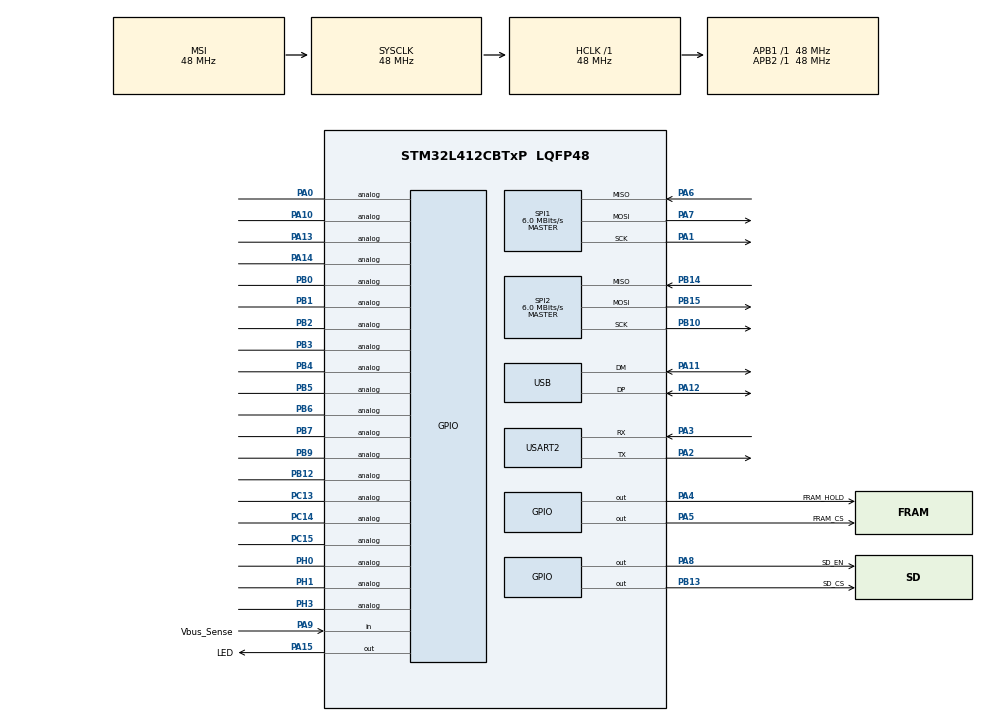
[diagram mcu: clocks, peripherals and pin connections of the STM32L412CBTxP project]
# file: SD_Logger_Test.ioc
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Mcu.Family=STM32L4
Mcu.Name=STM32L412CBTxP
Mcu.Package=LQFP48
NVIC.PriorityGroup=NVIC_PRIORITYGROUP_4
NVIC.USART2_IRQn=true\:0\:0\:false\:false\:true\:true\:true\:true
NVIC.USB_IRQn=true\:0\:0\:false\:false\:true\:false\:true\:true
PA0.Signal=GPIO_Analog
PA1.Mode=Full_Duplex_Master
PA1.Signal=SPI1_SCK
PA10.Signal=GPIO_Analog
PA11.Mode=Device
PA11.Signal=USB_DM
PA12.Mode=Device
PA12.Signal=USB_DP
PA13\ (JTMS/SWDIO).Signal=GPIO_Analog
PA14\ (JTCK/SWCLK).Signal=GPIO_Analog
PA15\ (JTDI).GPIO_Label=LED
PA15\ (JTDI).Signal=GPIO_Output
PA2.Mode=Asynchronous
PA2.Signal=USART2_TX
PA3.Mode=Asynchronous
PA3.Signal=USART2_RX
PA4.GPIO_Label=FRAM_HOLD
PA4.PinState=GPIO_PIN_SET
PA4.Signal=GPIO_Output
PA5.GPIO_Label=FRAM_CS
PA5.GPIO_Speed=GPIO_SPEED_FREQ_HIGH
PA5.PinState=GPIO_PIN_SET
PA5.Signal=GPIO_Output
PA6.Mode=Full_Duplex_Master
PA6.Signal=SPI1_MISO
PA7.Mode=Full_Duplex_Master
PA7.Signal=SPI1_MOSI
PA8.GPIO_Label=SD_EN
PA8.PinState=GPIO_PIN_SET
PA8.Signal=GPIO_Output
PA9.GPIO_Label=Vbus_Sense
PA9.Signal=GPIO_Input
PB0.Signal=GPIO_Analog
PB1.Signal=GPIO_Analog
PB10.Mode=Full_Duplex_Master
PB10.Signal=SPI2_SCK
PB12.Signal=GPIO_Analog
PB13.GPIO_Label=SD_CS
PB13.GPIO_Speed=GPIO_SPEED_FREQ_HIGH
PB13.PinState=GPIO_PIN_SET
PB13.Signal=GPIO_Output
PB14.GPIO_PuPd=GPIO_NOPULL
PB14.Mode=Full_Duplex_Master
PB14.Signal=SPI2_MISO
PB15.GPIO_PuPd=GPIO_NOPULL
PB15.Mode=Full_Duplex_Master
PB15.Signal=SPI2_MOSI
PB2.Signal=GPIO_Analog
PB3\ (JTDO/TRACESWO).Signal=GPIO_Analog
PB4\ (NJTRST).Signal=GPIO_Analog
PB5.Signal=GPIO_Analog
PB6.Signal=GPIO_Analog
PB7.Signal=GPIO_Analog
PB9.Signal=GPIO_Analog
PC13.Signal=GPIO_Analog
PC14-OSC32_IN\ (PC14).Signal=GPIO_Analog
PC15-OSC32_OUT\ (PC15).Signal=GPIO_Analog
PH0-OSC_IN\ (PH0).Signal=GPIO_Analog
PH1-OSC_OUT\ (PH1).Signal=GPIO_Analog
PH3-BOOT0\ (BOOT0).Signal=GPIO_Analog
ProjectManager.HeapSize=0x200
ProjectManager.StackSize=0x400
ProjectManager.TargetToolchain=Makefile
RCC.ADCFreq_Value=48000000
RCC.AHBFreq_Value=48000000
RCC.APB1Freq_Value=48000000
RCC.APB1TimFreq_Value=48000000
RCC.APB2Freq_Value=48000000
RCC.APB2TimFreq_Value=48000000
RCC.CortexFreq_Value=48000000
RCC.HCLKFreq_Value=48000000
RCC.HSE_VALUE=8000000
RCC.HSI48_VALUE=48000000
RCC.HSI_VALUE=16000000
RCC.LSE_VALUE=32768
RCC.MSIClockRange=RCC_MSIRANGE_11
RCC.MSI_VALUE=48000000
RCC.PLLSourceVirtual=RCC_PLLSOURCE_HSI
RCC.SYSCLKFreq_VALUE=48000000
RCC.USART2CLockSelection=RCC_USART2CLKSOURCE_HSI
RCC.USBFreq_Value=48000000
RCC.VCOOutputFreq_Value=128000000
SPI1.BaudRatePrescaler=SPI_BAUDRATEPRESCALER_8
SPI1.CalculateBaudRate=6.0 MBits/s
SPI1.DataSize=SPI_DATASIZE_8BIT
SPI1.Direction=SPI_DIRECTION_2LINES
SPI1.Mode=SPI_MODE_MASTER
SPI1.VirtualType=VM_MASTER
SPI2.BaudRatePrescaler=SPI_BAUDRATEPRESCALER_8
SPI2.CalculateBaudRate=6.0 MBits/s
SPI2.DataSize=SPI_DATASIZE_8BIT
SPI2.Direction=SPI_DIRECTION_2LINES
SPI2.Mode=SPI_MODE_MASTER
SPI2.NSSPMode=SPI_NSS_PULSE_DISABLE
SPI2.VirtualType=VM_MASTER
USART2.VirtualMode-Asynchronous=VM_ASYNC
USB_DEVICE.CLASS_NAME_FS=MSC
USB_DEVICE.VirtualMode=Msc
USB_DEVICE.VirtualModeFS=Msc_FS
VP_CRC_VS_CRC.Mode=CRC_Activate
VP_FATFS_VS_Generic.Mode=User_defined
VP_USB_DEVICE_VS_USB_DEVICE_MSC_FS.Mode=MSC_FS
board=custom

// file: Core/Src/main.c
/* USER CODE BEGIN Header */
/**
  ******************************************************************************
  * @file           : main.c
  * @brief          : Main program of the SODAQ LOGGER
  * @author         : Phuoc K. Ly
  * @version        : 0.1
  ******************************************************************************
  * @attention
  *
  * Copyright (c) 2022 STMicroelectronics.
  * All rights reserved.
  *
  * This software is licensed under terms that can be found in the LICENSE file
  * in the root directory of this software component.
  * If no LICENSE file comes with this software, it is provided AS-IS.
  *
  *  This software is a free software and there is NO WARRANTY.
  *  No restriction on use. You can use, modify and redistribute it for
  *  personal, non-profit or commercial products UNDER YOUR RESPONSIBILITY.
  *  Redistributions of source code must retain the above copyright notice.
  *
  */

/*
    This copywrited (C) program was developed by Phuoc K. Ly (SODAQ) for a low power logging device using the STM32L412 MCU with external FRAM and SD card
    The main program is available at https://github.com/phuocly2304/SD_Logger
    This file provide all the main functions of the SODAQ Logger.

    SODAQ Logger is a simple but low power serial logger based on the STM32L412CBT6P running at 48MHz.
    The purpose of this logger was to create an easy to use logging device to assist all the Quality Assurance tasks

    SODAQ Logger works with an external 64KB FRAM and an 512MB XTX SD card. By default, the logger UART runs at 115200bps

    Two most important characteristics of the SODAQ Logger is the low power aspect and the ability to become a USB stick
    so the users can easily extract all the data directly on the device.

    22µA idle current consumption (When the device is not receiving any UART message)
    6mA actively buffering data to FRAM
    30mA actively writing from FRAM to SD Card.

    Input Voltage on can either be 3.3V directly to 3V3 pin or up to 6.5V. Input Voltage on RX-I pin must not exceed 6V.

    In order to extract data from the logger. Use a 10P Distance Test Stand Pcb Clip Clamp Fixture to clip on it.
    Note that a separated 3.3 - 5V must be apply on the Vbus pin to trigger the USB function.
*/

/* USER CODE END Header */
#include "main.h"
#include "fatfs.h"
#include "usb_device.h"

/* USER CODE BEGIN Includes */
#include <stdio.h>
#include <string.h>
#include <stdarg.h> //for va_list var arg functions
#include "SPI_FRAM.h"
/* USER CODE END Includes */

/* USER CODE BEGIN PTD */

#ifdef DEBUG
  #warning "You are running a debug build!"
#endif

#define VERSION "v1.0"

//#define LOGGER_RESET 1
/*************************************************FRAM ADDRESS CONFIG*****************************************************/
//External FRAM locations for user settings
#define DEVICE_ID_LOCATION  0x02            //Each logger will be assigned a unique ID

#define LOCATION_FILE_NUMBER_LSB 0x03       //16-bit value LSB for file location number
#define LOCATION_FILE_NUMBER_MSB 0x04       //16-bit value MSB for file location number

#define BAUD_LSB_LOCATION 0x05              //16-bit value LSB for Logger baudrate
#define BAUD_MSB_LOCATION 0x06              //16-bit value MSB for Logger baudrate

#define LOGGER_STAT_LOCATION 0x07           //Logger status location

/*---------------24 bit value of the FRAM Iterator address from the last logging ----------------*/
#define SYNC_BUFFER_MSB 0x08                //First 8 MSB of the Iterator value
#define SYNC_BUFFER_MSB2 0x09               //Second 8 bits of the Iterator
#define SYNC_BUFFER_LSB 0x0A                //Last 8 LSB of the Iterator
/*-----------------------------------------------------------------------------------------------*/
// #define LOCATION_BAUD_SETTING_HIGH 0x0B
// #define LOCATION_BAUD_SETTING_MID 0x0C
// #define LOCATION_BAUD_SETTING_LOW 0x0D

// #define LOCATION_LOGGER_RESTORE 0x0E

#define LOCATION_BUFFER_START 20            //Address of start position when buffering
#define LOCATION_BUFFER_END 0x3ff70         //Address of end position when buffering (260000)
/*****************************************************************************************************************/

/********************************LOGGER STATUS & ERROR*****************************************************/
typedef enum{
  LOGGER_INIT,
  BUFFER_SYNC_,
  BUFFER_SYNC_DONE,
  BUFFER_OK,
  BUFFER_ON_HOLD,
  SD_DONE,
  USB_PLUGIN,
  USB_UNKNOWN,
  USER_CONFIG
}LOGGER_STAT;

typedef enum{
  ERROR_SD_INIT = 2,  //blink LED 2 times a second if SD card is mounted fail.
  LOGGER_RESET
}LOGGER_ERROR;
/*************************************************************************************************/

/* USER CODE END PTD */

CRC_HandleTypeDef hcrc;

SPI_HandleTypeDef hspi1;
SPI_HandleTypeDef hspi2;

UART_HandleTypeDef huart2;

/* USER CODE BEGIN PV */
extern USBD_HandleTypeDef hUsbDeviceFS;   //USB handler
UART_WakeUpTypeDef wakeup;        //Wake up handler
char Rx_data[4096];               // Creat UART buffer of 2 kbytes
char Rx_back_up[4096];            // Backup UART buffer when flusing data to SD NAND

/*************************************************SYSTEM FLAGS*****************************************************/
uint8_t USB_Flag = 0;             //USB Flag raise up when USB cable is connected
uint8_t RX_Flag = 0;              //RX_flag when interrupt
uint8_t RX_BACKUP_Flag = 0;       //Raise this flag mean data coming during SD write process
uint8_t SD_Flag = 0;              //Raise SD Flag when timeout & buffer is full
uint8_t RESET_FLAG = 1;           //If the device is reset - create new file in SD
uint8_t BUFFER_NEAR_FULL_ = 0;    //When buffer is almost full and device is still buffering -- trigger this flag
uint8_t BOARD_POWER_UP = 1;       //First time power up the board -- create a new log file
uint8_t SD_MOUNT_FAIL = 0;        //Number of mount fail -- 3 times then error-handler
/*****************************************************************************************************************/

/*************************************************LOGGER CONFIGURATION*****************************************************/
uint32_t LOCATION_BUFFER_ITERATOR = LOCATION_BUFFER_START;        // Iterator to the current position of the buffer
static char newFileName[13];                                      // Create new file name based on the available log spot
const char *CFG_FILENAME = "config.txt";                          //This is the name of the file that contains the unit settings
long Current_System_Baud = 0;
/*****************************************************************************************************************/

/*************************************************USER DEFINE BUFFER SIZE AND TIMEOUT*****************************************************/
#ifdef DEBUG
  static const unsigned int BUFFER_MAX = 300;                             //User define max buffer 200 characters for debugging
#else
  static const unsigned int BUFFER_MAX = 250000;                             //User define max buffer from 20 to 262000
#endif
static const uint32_t MAX_IDLE_TIME_MSEC = 300;                        //User define timeout before going low power
/*****************************************************************************************************************/

//Some variables for FatFs
FATFS FatFs; 	//Fatfs handle
FIL newFile, workingFile, fil; 		//File handle
FRESULT fres; //Result after operations
char FATPATH[4];
/* USER CODE END PV */

void SystemClock_Config(void);
static void MX_GPIO_Init(void);
static void MX_SPI1_Init(void);
static void MX_SPI2_Init(void);
static void MX_USART2_UART_Init(void);
static void MX_CRC_Init(void);
/* USER CODE BEGIN PFP */
static void turn_off_spi_SD(void);
static void turn_off_spi_FRAM(void);

// void LoggerSetting(void);
void myprintf(const char *fmt, ...);
void Stop_Mode_Entry(void);
void System_error(LOGGER_ERROR Error_type);
void appendDATA();

char* newLog(LOGGER_STAT stat);
uint8_t appendFile(char* fileName);
uint8_t buffer_sync(int* Buffer_Iterator, LOGGER_STAT stat);
uint8_t USB_init(LOGGER_STAT stat);
uint8_t Logger_Config(void);
uint8_t Logger_Reset(void);
/* USER CODE END PFP */

/* USER CODE BEGIN 0 */
/*Custom printf function using UART TX with interrupt*/
void myprintf(const char *fmt, ...){
  static char buffer[500];
  va_list args;
  va_start(args, fmt);
  vsnprintf(buffer, sizeof(buffer), fmt, args);
  va_end(args);

  int len = strlen(buffer);
  HAL_UART_Transmit(&huart2, (uint8_t*)buffer, len, -1);
}

/*!
* @brief Check for USB cable appearance-- if yes then initialize USB peripheral
* @param stat
* @retval None
*/
uint8_t USB_init(LOGGER_STAT stat){
  /*If Cable plugin  USB device is configured by computer host*/
  if(stat == USB_UNKNOWN){
    GPIO_InitTypeDef GPIO_InitStruct = {0};
    GPIO_InitStruct.Pin = Vbus_Sense_Pin| GPIO_PIN_11| GPIO_PIN_12;
    GPIO_InitStruct.Mode = GPIO_MODE_ANALOG;
    GPIO_InitStruct.Pull = GPIO_NOPULL;
    HAL_GPIO_Init(GPIOA, &GPIO_InitStruct);
  }
  else{
    /*Else turn off USB Peripheral & put the GPIOs to analog mode*/
    MX_USB_DEVICE_Init();
    USB_Flag = 1;
  }
  return LOGGER_INIT;
}

/*!
* @brief Congig parameters for the logger based on the config.txt file inside the SD. If there is no config.txt file, default parameters will be apply.
* @param None
* @retval Logger status
*/
uint8_t Logger_config(void){

}

/*!
* @brief Turn off FRAM peripheral by enable sleep mode and put the GPIOs to analog state
* @param None
* @retval None
*/
static void turn_off_spi_FRAM(){
  HAL_SPI_DeInit(&hspi1);
  GPIO_InitTypeDef GPIO_InitStruct = {0};
  HAL_GPIO_WritePin(GPIOA, GPIO_PIN_1| GPIO_PIN_6| GPIO_PIN_7| FRAM_CS_Pin| LED_Pin| FRAM_HOLD_Pin, RESET);
  GPIO_InitStruct.Pin = GPIO_PIN_1| GPIO_PIN_6| GPIO_PIN_7| FRAM_CS_Pin| LED_Pin| FRAM_HOLD_Pin;
  GPIO_InitStruct.Mode = GPIO_MODE_ANALOG;
  GPIO_InitStruct.Pull = GPIO_NOPULL;
  HAL_GPIO_Init(GPIOA, &GPIO_InitStruct);
}

/*!
 *  @brief  Turn off SD NAND chip by disable 3V3 power supply and put the GPIOs to analog mode
 *  @param  None
 *  @retval None
 */
static void turn_off_spi_SD(){
  HAL_SPI_DeInit(&hspi2);
  GPIO_InitTypeDef GPIO_InitStruct = {0};
  /*Configure GPIO pin Output Level */
  HAL_GPIO_WritePin(GPIOB, GPIO_PIN_10| GPIO_PIN_14 |GPIO_PIN_15| SD_CS_Pin, RESET);
  GPIO_InitStruct.Pin = GPIO_PIN_10| GPIO_PIN_14 |GPIO_PIN_15 |SD_CS_Pin;
  GPIO_InitStruct.Mode = GPIO_MODE_ANALOG;
  GPIO_InitStruct.Pull = GPIO_NOPULL;
  HAL_GPIO_Init(GPIOB, &GPIO_InitStruct);
  //HAL_GPIO_WritePin(GPIOB, GPIO_PIN_15, RESET);
  //HAL_GPIO_WritePin(GPIOB, GPIO_PIN_14, SET);
}

/*Receive data call back after idle time (1 frame reception) */
void HAL_UARTEx_RxEventCallback(UART_HandleTypeDef *huart, uint16_t size){
  if(!SD_Flag){
    HAL_UARTEx_ReceiveToIdle_IT(&huart2, (uint8_t *)Rx_data, sizeof(Rx_data));
    HAL_GPIO_WritePin(LED_GPIO_Port, LED_Pin, SET);
    RX_Flag = 1;
  }
  /*In case the logger is transferring data from buffer to SD, concatenate UART data to a back up variable*/
  else{
    HAL_UARTEx_ReceiveToIdle_IT(&huart2, (uint8_t *)Rx_data, sizeof(Rx_data));
    strcat(Rx_back_up, Rx_data);
    memset(Rx_data,0,sizeof(Rx_data)); //Reset this variable
    RX_Flag = 1;
    RX_BACKUP_Flag = 1;
  }
}

/*Enter stop mode 1 and set UART as wakeup source*/
void Stop_Mode_Entry(){

  /*Kindly turn off FRAM and other peripheral :) */
  turn_off_spi_FRAM();

  /* Enable the USART2 Wake UP from STOP mode Interrupt */
  __HAL_UART_ENABLE_IT(&huart2, UART_IT_WUF);

  /* enable MCU wake-up by USART1 */
  HAL_UARTEx_EnableStopMode(&huart2);
  // #ifdef DEBUG
  // myprintf("I go to sleep now!");
  // #endif

  /*Deinit peripherals*/
  HAL_DBGMCU_DisableDBGSleepMode( );
  HAL_DBGMCU_DisableDBGStopMode( );
  HAL_DBGMCU_DisableDBGStandbyMode( );
  HAL_SuspendTick();
  /*Enter stop mode*/
  HAL_PWREx_EnterSTOP1Mode(PWR_STOPENTRY_WFI);

  /*Escape from stop mode*/
  SystemClock_Config();
  HAL_ResumeTick();
  //HAL_GPIO_DeInit(GPIOA, GPIO_PIN_1| GPIO_PIN_6| GPIO_PIN_7| FRAM_CS_Pin| LED_Pin| FRAM_HOLD_Pin);
  MX_GPIO_Init();
  MX_SPI1_Init();
  //MX_FATFS_Init();
  turn_off_spi_SD();
  HAL_GPIO_WritePin(SD_EN_GPIO_Port, SD_EN_Pin, RESET);
  /* Wake up based on RXNE flag successful*/
  HAL_UARTEx_DisableStopMode(&huart2);
  HAL_UARTEx_ReceiveToIdle_IT(&huart2, (uint8_t *)Rx_data, sizeof(Rx_data));
}

/*Create new | Check for logging file*/
char* newLog(LOGGER_STAT stat){
  //HAL_UART_AbortReceive_IT(&huart2);  //Abort UART DATA for a quick instant
  uint8_t msb, lsb;
  unsigned int newFileNumber = 0;
  uint8_t attempt = 1;

  /*Init SD PHY layer*/
  if(stat != BUFFER_SYNC_){
    HAL_GPIO_WritePin(SD_EN_GPIO_Port, SD_EN_Pin, SET);
    HAL_GPIO_DeInit(GPIOB, GPIO_PIN_10 | GPIO_PIN_14 | GPIO_PIN_15| SD_CS_Pin);
    MX_GPIO_Init();
    MX_SPI2_Init();
    MX_FATFS_Init();
    HAL_Delay(300);
  }

  /*Init and Mount SD Card in FATFS*/
  #ifdef DEBUG
  myprintf("\r\n~ SD card initializing... ~\r\n\r\n");
  #endif
  //Open the file system -- incase fail to mount the first time, re-try 10 times before skipping this phase -- if the situation repeat for 3 times -> error handler
  fres = f_mount(&FatFs, (const TCHAR *)FATPATH, 1); //1=mount now
  //FATFS_LinkDriver()
  while (fres != FR_OK) {
    if (attempt == 5){
      SD_MOUNT_FAIL++;
      if(SD_MOUNT_FAIL == 4)
      SD_Flag = 0;
      System_error(ERROR_SD_INIT);
      //return;
    }
    myprintf("f_mount error (%i)\r\n Will try again for 5 times in 0.5 seconds\n", fres);
    myprintf("Try %d times\n", attempt);
    attempt++;
    if (FATFS_UnLinkDriver(&USERPath)){
      myprintf("FATFS Unlinked fail!!");
      NVIC_SystemReset();
    }
    else myprintf("FATFS Unlink success\n");
    turn_off_spi_SD();
    HAL_GPIO_WritePin(SD_EN_GPIO_Port, SD_EN_Pin, RESET);
    HAL_Delay(1000);

    /*Re-init SD*/
    HAL_GPIO_WritePin(SD_EN_GPIO_Port, SD_EN_Pin, SET);
    HAL_GPIO_DeInit(GPIOB, GPIO_PIN_10 | GPIO_PIN_14 | GPIO_PIN_15| SD_CS_Pin);
    MX_GPIO_Init();
    MX_SPI2_Init();
    MX_FATFS_Init();
    HAL_Delay(100);
    myprintf("\r\n~ SD card re-initializing... ~\r\n\r\n");
    fres = f_mount(&FatFs, (const TCHAR *)FATPATH, 1); //1=mount now
  }

  #ifdef DEBUG
  myprintf("\r\n~ SD card mounted successfully ~\r\n\r\n");
  myprintf("\n***FRAM generate/indicate file location!!\n");
  #endif

  //Combine two 8-bit FRAM spots into one 16-bit number
  lsb = FRAM_read8(LOCATION_FILE_NUMBER_LSB);
  msb = FRAM_read8(LOCATION_FILE_NUMBER_MSB);

  #ifdef DEBUG
  myprintf("Location lsb: %d\n", lsb);
  myprintf("Location msb: %d\n", msb);
  #endif

  //If both FRAM spots are 255 (0xFF), that means they are un-initialized (first time Logger has been turned on)
  newFileNumber = msb;
  newFileNumber = newFileNumber << 8;
  newFileNumber |= lsb;

  if(stat == BUFFER_SYNC_){
    newFileNumber -= 1;
    sprintf(newFileName, "LOG%05d.TXT", newFileNumber);
    return newFileName;
  }

  if(RESET_FLAG){
    //Let's init them both to 0
    if((lsb==0xff) && (msb == 0xff)){
      newFileNumber = 0;
      FRAM_writeEnable(true);
      FRAM_write8(LOCATION_FILE_NUMBER_LSB, 0x00);
      FRAM_write8(LOCATION_FILE_NUMBER_MSB, 0x00);
      FRAM_writeEnable(false);
      #ifdef DEBUG
      myprintf("Location lsb updated: %d\n", lsb);
      myprintf("Location msb updated: %d\n", msb);
      //HAL_GPIO_WritePin(LD4_GPIO_Port, LD4_Pin, SET);
      #endif
    }
    //Let's quit if we reach 65534 files
    if(newFileNumber == 65534){
      return 0;
    }
    while(1){
      sprintf(newFileName, "LOG%05d.TXT", newFileNumber);

      //If we are able to create this file, then it didn't exist, we're good, break
      fres = f_open(&newFile, newFileName, FA_WRITE | FA_CREATE_NEW);
      if(fres == FR_OK){
        f_close(&newFile);
        break;
      }

      //If file exists, see if empty. If so, use it.
      if(fres == FR_EXIST){
        fres = f_open(&newFile, newFileName, FA_READ | FA_OPEN_EXISTING);
        if(f_size(&newFile) == 0){
          f_close(&newFile);  // Close this existing file we just opened.
          return newFileName; // Use existing empty file.
        }
        f_close(&newFile);
      }
      //try the next number
      newFileNumber++;
      if(newFileNumber > 65533) return 0;
    }
    if(BOARD_POWER_UP == 1){
      newFileNumber++; //Increment so the next power up uses the next file #
      BOARD_POWER_UP = 0;
    }
    lsb = (uint8_t)(newFileNumber & 0x00ff);
    msb = (uint8_t)((newFileNumber & 0xff00)>>8);

    FRAM_writeEnable(true);
    FRAM_write8(LOCATION_FILE_NUMBER_LSB, lsb); //LSB

    if(FRAM_read8(LOCATION_FILE_NUMBER_MSB) != msb)
    FRAM_write8(LOCATION_FILE_NUMBER_MSB, msb); //MSB

    FRAM_writeEnable(false);
    FRAM_sleepEnable(true);

    #ifdef DEBUG
      myprintf("Location lsb updated: %d\n", lsb);
      myprintf("Location msb updated: %d\n", msb);
      //HAL_GPIO_WritePin(LD4_GPIO_Port, LD4_Pin, SET);
    #endif
    RESET_FLAG = 0;
  }
  return newFileName;
}

/*!
 *  @brief  Main function to receive UART data and buffer to FRAM
 *          After interval waiting time, data from buffer will be written to SD NAND and buffer is reset
 *  @param  None
 *  @retval None
 */
void appendDATA(){
  //unsigned long currentTime = HAL_GetTick();
  FRAM_sleepEnable(false);
  #ifdef DEBUG
    myprintf("<\n");
  #endif
  unsigned long lastSyncTime = HAL_GetTick(); //Keeps track of the last time the file was synced
  while(1){
    FRAM_sleepEnable(false); //make sure FRAM is woken up properly

    /*Buffering incoming data*/
    if(RX_Flag != 0){
      char readBuf[4096] = {'0'};
      strncpy((char*)readBuf, Rx_data, strlen(Rx_data));
      memset(Rx_data, 0, strlen(Rx_data));
      if(FRAM_write(&LOCATION_BUFFER_ITERATOR, readBuf) != FRAM_OK) Error_Handler();
      #ifdef DEBUG
        myprintf("Updated iterator: %d\n", LOCATION_BUFFER_ITERATOR);
        myprintf("Start synchronizing...\n");
      #endif
      if(buffer_sync(&LOCATION_BUFFER_ITERATOR, BUFFER_SYNC_) == BUFFER_OK) myprintf("Sync_OK!\n");
      HAL_GPIO_WritePin(LED_GPIO_Port, LED_Pin, RESET);
      RX_Flag = 0;                      //Reset RX_IT flag

      /*If buffer exceed max capacity -- write to SD*/
      if(LOCATION_BUFFER_ITERATOR >= LOCATION_BUFFER_START + BUFFER_MAX) SD_Flag = 1;

      lastSyncTime = HAL_GetTick();     //Reset interval time
    }

    /*Update data from buffer_backup when SD was writing*/
    else if ((RX_Flag | RX_BACKUP_Flag) != 0){
      char readBuf[4096] = {'0'};
      strncpy((char*)readBuf, Rx_back_up, strlen(Rx_back_up));
      memset(Rx_back_up, 0, strlen(Rx_back_up));
      if(FRAM_write(&LOCATION_BUFFER_ITERATOR, readBuf) != FRAM_OK) Error_Handler();
      #ifdef DEBUG
        myprintf("Updated iterator from back up: %d\n", LOCATION_BUFFER_ITERATOR);
      #endif
      if(buffer_sync(&LOCATION_BUFFER_ITERATOR, BUFFER_SYNC_) == BUFFER_OK) myprintf("BACK_UP_sync_OK!!\n");
      RX_Flag = 0;
      RX_BACKUP_Flag = 0;               //Reset RX_IT flag
      /*If buffer exceed max capacity -- write to SD*/
      if(LOCATION_BUFFER_ITERATOR >= LOCATION_BUFFER_START + BUFFER_MAX) SD_Flag = 1;
      lastSyncTime = HAL_GetTick();     //Reset interval time
    }

    /*Write data from buffer to SD after buffer is full*/
    else if (SD_Flag){
      appendFile(newLog(BUFFER_OK));
      SD_Flag = 0;
    }

    /*After [USER_DEFINE] seconds -> Go to sleep*/
    else if ((unsigned long)(HAL_GetTick()-lastSyncTime) > MAX_IDLE_TIME_MSEC){
      #ifdef DEBUG
        myprintf("******I am done waiting!!! Now I go sleep ******\n");
      #endif
      FRAM_sleepEnable(true);
      Stop_Mode_Entry();
      lastSyncTime = HAL_GetTick();     //Reset interval time
    }
  }
}

/*!
 *  @brief  Main function to receive UART data and buffer to FRAM
 *          After interval waiting time, data from buffer will be written to SD NAND and buffer is reset
 *  @param  fileName
 *          Name of the file generated from the function newlog
 *  @retval None
 */
uint8_t appendFile(char* fileName){
  UINT bytesWrote = 0;
  UINT Total_Byte_Wrote = 0;
  const char writeBuf[2048];
  fres = f_open(&workingFile, fileName, FA_READ| FA_WRITE | FA_OPEN_APPEND);
  if(fres != FR_OK){
    #ifdef DEBUG
      myprintf("f_open error (%i)\r\n", fres);
    #endif
    Error_Handler();
  }
  if(f_size(&workingFile) == 0){
    f_rewind(&workingFile);
    f_sync(&workingFile);
  }

  FRAM_sleepEnable(false);
  uint32_t index = LOCATION_BUFFER_START;
  while(index < LOCATION_BUFFER_ITERATOR){
    //char data = FRAM_read8(index);
    strncpy((char*)writeBuf,FRAM_read(&index), sizeof(writeBuf));  //copy from buffer to SD (reset buffer iterator)
    #ifdef DEBUG
      //myprintf("Buffer data at address %d: %c\n",index, data);
      //char* test_Buf = FRAM_read(&index);
      //myprintf("Writebuf: %s\n", writeBuf);
      //myprintf("Updated read Index: %d\n", index);
    #endif
    fres = f_write(&workingFile, writeBuf, strlen(writeBuf), &bytesWrote);
    if(fres != FR_OK){
      myprintf("f_write error (%i)\r\n");
    }
    else Total_Byte_Wrote += bytesWrote;
  }

  #ifdef DEBUG
  myprintf("Wrote total %i bytes to %s!\r\n", Total_Byte_Wrote, fileName);
  f_close(&workingFile);
  /*Now let's try to open file "test.txt"*/
  fres = f_open(&workingFile, fileName, FA_READ| FA_OPEN_EXISTING);
  if (fres != FR_OK) {
	  myprintf("f_open error (%i)\r\n", fres);
	  while(1);
  }
  myprintf("I was able to open %s !!\r\n", fileName);

  // while(1){
  //   rres = f_gets((TCHAR*)readBuf, sizeof(readBuf), &workingFile);
  //   if(rres == 0) {
	//     myprintf("f_gets error (%i) | end of file\r\n", fres);
  //     break;
  //   }
  //   else myprintf("Read string from %s contents: %s\r\n",fileName, readBuf);
  // }
  // if(fres == FR_OK) {
  //   RX_Flag = 0;
  //   f_sync(&workingFile);
  // }
  // else {
  //   f_sync(&workingFile);
  //   myprintf("Error (%i)\r\n");
  // }
  #endif
  f_sync(&workingFile);
  /*We're done with SD, let's un-mount the drive*/
  if (FATFS_UnLinkDriver(USERPath)){
    myprintf("FATFS Unlinked fail!!");
    Error_Handler();
  }
  f_mount(NULL, FATPATH, 0);
  /*We're also done with FRAM, let's reset the iterator*/
  LOCATION_BUFFER_ITERATOR = LOCATION_BUFFER_START;
  buffer_sync(LOCATION_BUFFER_ITERATOR, SD_DONE);
  /*Don't forget to turn off the power after using :) */
  turn_off_spi_SD();
  HAL_GPIO_WritePin(SD_EN_GPIO_Port, SD_EN_Pin, RESET);
  myprintf("SD_OK!\n");
  return 0;
}

/*Blink leds when system receive error based on error type*/
void System_error(LOGGER_ERROR Error_type){
  while(1){
    for(int index = 0; index < Error_type; index++){
      HAL_GPIO_WritePin(LED_GPIO_Port, LED_Pin, SET);
      HAL_Delay(200);
      HAL_GPIO_WritePin(LED_GPIO_Port, LED_Pin, RESET);
      HAL_Delay(200);
    }

    HAL_Delay(2000);
  }
}
/* USER CODE END 0 */

/*!
 *  @brief  Synchronize the Buffer iterator after every buffer action
 *          On booting up, the logger will check this function status.
 *  @param  Buffer_Iterator To store the current buffer iterator position after
 *  @param  stat  Current status for the logger || LOGGER_INIT: Check for Logger current status.
 * If stat is BUFFER_SYNC than previous logging still have remain data in the buffer, the logger will sync all the data to the previous log file.
 * || BUFFER_SYNC: Save current iterator in to buffer
 * || SD_DONE: Done writing to the SD
 *  @retval None
 */
uint8_t buffer_sync(int* Buffer_Iterator, LOGGER_STAT stat){
  switch (stat)
  {
  case LOGGER_INIT:
    FRAM_sleepEnable(false);
    uint32_t _update_iterator = 0;
    uint8_t stat_check = FRAM_read8(LOGGER_STAT_LOCATION);
    if (stat_check == SD_DONE || stat_check == BUFFER_OK || stat_check == BUFFER_SYNC_DONE){
      #ifdef DEBUG
        myprintf("Done synchronizing.!!\n");
      #endif
      return BUFFER_OK;
    }
    else if (stat_check == BUFFER_SYNC_){
      _update_iterator = FRAM_read8(SYNC_BUFFER_MSB);
      _update_iterator = _update_iterator << 8;
      _update_iterator |= FRAM_read8(SYNC_BUFFER_MSB2);
      _update_iterator = _update_iterator << 8;
      _update_iterator |= FRAM_read8(SYNC_BUFFER_LSB);

      LOCATION_BUFFER_ITERATOR = _update_iterator;
      #ifdef DEBUG
        myprintf("\n\nLast logging period stops at %d\n", LOCATION_BUFFER_ITERATOR);
        myprintf("Buffer is reset!!... Now start synchronizing to SD\n\n");
      #endif
      appendFile(newLog(BUFFER_SYNC_));
      FRAM_writeEnable(true);
      FRAM_write8((uint8_t)LOGGER_STAT_LOCATION, BUFFER_SYNC_DONE);
      FRAM_writeEnable(false);
      return BUFFER_SYNC_DONE;
    }
  break;

  case BUFFER_SYNC_:
    /*Write current buffer location to FRAM (From uint32_t to 3 uin8_t(s) )*/
    FRAM_writeEnable(true);
    uint8_t _location = 0;  //Save current iterator location to buffer
    _location = (*Buffer_Iterator >> 16) & 0xff;
    FRAM_write8(SYNC_BUFFER_MSB, _location);
    _location = (*Buffer_Iterator >> 8) & 0xff;
    FRAM_write8(SYNC_BUFFER_MSB2, _location);
    _location = *Buffer_Iterator & 0xff;
    FRAM_write8(SYNC_BUFFER_LSB, _location);

    /*Update logger Status*/
    FRAM_write8((uint8_t)LOGGER_STAT_LOCATION, (uint8_t)BUFFER_SYNC_);
    FRAM_writeEnable(false);
    break;

  case SD_DONE:
    FRAM_writeEnable(true);
    FRAM_write8((uint8_t)LOGGER_STAT_LOCATION, SD_DONE);
    FRAM_writeEnable(true);
    return BUFFER_OK;
  break;
  default:
    break;
  }
  return BUFFER_OK;
}

int main(void)
{

  /* MCU Configuration--------------------------------------------------------*/

  /* Reset of all peripherals, Initializes the Flash interface and the Systick. */
  HAL_Init();

  /* Configure the system clock */
  SystemClock_Config();

  /* Initialize all configured peripherals */
  MX_GPIO_Init();
  MX_SPI1_Init();
  MX_SPI2_Init();
  MX_USART2_UART_Init();
  MX_FATFS_Init();
  //MX_USB_DEVICE_Init();
  MX_CRC_Init();
  /* USER CODE BEGIN 2 */
  //USB_init(); //Check for USB cable connection
  //HAL_Delay(2000);
  if(!FRAM_begin(3)){
    myprintf("SPI FRAM begin error.. check your connection !!\n");
    while(1);
  }
  else myprintf("Logger init %s\n",VERSION);
  //uint8_t Logger_init_stat = FRAM_read8(BUFFER_STAT);
  #ifdef DEBUG
    uint8_t manufID;
    uint16_t prodID;
    FRAM_getID(&manufID, &prodID);  //Check FRAM parameter
    myprintf("Manufacture ID: 0x%X\n", manufID);
    myprintf("product ID: 0x%X\n", prodID);
    myprintf("Current iterator: %d\n", LOCATION_BUFFER_ITERATOR);
  #endif
  #ifdef LOGGER_RESET
    FRAM_writeEnable(true);
    myprintf("FRAM Start reseting!\n");
    FRAM_write8((uint8_t)LOGGER_STAT_LOCATION, BUFFER_OK);
    FRAM_write8(DEVICE_ID_LOCATION, 0);
    FRAM_write8(LOCATION_FILE_NUMBER_LSB, 0);
    FRAM_write8(LOCATION_FILE_NUMBER_MSB, 0);
    FRAM_writeEnable(false);
    myprintf("Logger has been reset sucessfully.. please reboot the device!\n");
    System_error(LOGGER_RESET);
  #endif
  if(buffer_sync(NULL, LOGGER_INIT) == BUFFER_SYNC_DONE){
    #ifdef DEBUG
    myprintf("Done synchronizing from last logging time...reset now!!\n");
    #endif
    NVIC_SystemReset();
  }

  if(HAL_GPIO_ReadPin(Vbus_Sense_GPIO_Port, Vbus_Sense_Pin)){
    HAL_Delay(500);
    myprintf("Logger is in USB mode! Please connect to a USB port on the adapter\n");
    USB_init(USB_PLUGIN);
  }
  else USB_init(USB_UNKNOWN);

  if(USB_Flag == 0){
    HAL_UARTEx_ReceiveToIdle_IT(&huart2, (uint8_t *)Rx_data, sizeof(Rx_data));
    /*turn off SD NAND to save power*/
    turn_off_spi_SD();
    HAL_GPIO_WritePin(SD_EN_GPIO_Port, SD_EN_Pin, RESET);
    myprintf("<\n");
  }
  /* USER CODE END 2 */

  /* Infinite loop */
  /* USER CODE BEGIN WHILE */
  while (1)
  {
    if(USB_Flag == 0){
      appendDATA();
    }
    /* USER CODE END WHILE */

  }
}

void SystemClock_Config(void)
{
  RCC_OscInitTypeDef RCC_OscInitStruct = {0};
  RCC_ClkInitTypeDef RCC_ClkInitStruct = {0};

  /** Configure the main internal regulator output voltage
  */
  if (HAL_PWREx_ControlVoltageScaling(PWR_REGULATOR_VOLTAGE_SCALE1) != HAL_OK)
  {
    Error_Handler();
  }

  /** Initializes the RCC Oscillators according to the specified parameters
  * in the RCC_OscInitTypeDef structure.
  */
  RCC_OscInitStruct.OscillatorType = RCC_OSCILLATORTYPE_HSI|RCC_OSCILLATORTYPE_MSI;
  RCC_OscInitStruct.HSIState = RCC_HSI_ON;
  RCC_OscInitStruct.HSICalibrationValue = RCC_HSICALIBRATION_DEFAULT;
  RCC_OscInitStruct.MSIState = RCC_MSI_ON;
  RCC_OscInitStruct.MSICalibrationValue = 0;
  RCC_OscInitStruct.MSIClockRange = RCC_MSIRANGE_11;
  RCC_OscInitStruct.PLL.PLLState = RCC_PLL_NONE;
  if (HAL_RCC_OscConfig(&RCC_OscInitStruct) != HAL_OK)
  {
    Error_Handler();
  }

  /** Initializes the CPU, AHB and APB buses clocks
  */
  RCC_ClkInitStruct.ClockType = RCC_CLOCKTYPE_HCLK|RCC_CLOCKTYPE_SYSCLK
                              |RCC_CLOCKTYPE_PCLK1|RCC_CLOCKTYPE_PCLK2;
  RCC_ClkInitStruct.SYSCLKSource = RCC_SYSCLKSOURCE_MSI;
  RCC_ClkInitStruct.AHBCLKDivider = RCC_SYSCLK_DIV1;
  RCC_ClkInitStruct.APB1CLKDivider = RCC_HCLK_DIV1;
  RCC_ClkInitStruct.APB2CLKDivider = RCC_HCLK_DIV1;

  if (HAL_RCC_ClockConfig(&RCC_ClkInitStruct, FLASH_LATENCY_2) != HAL_OK)
  {
    Error_Handler();
  }
}

static void MX_CRC_Init(void)
{

  hcrc.Instance = CRC;
  hcrc.Init.DefaultPolynomialUse = DEFAULT_POLYNOMIAL_ENABLE;
  hcrc.Init.DefaultInitValueUse = DEFAULT_INIT_VALUE_ENABLE;
  hcrc.Init.InputDataInversionMode = CRC_INPUTDATA_INVERSION_NONE;
  hcrc.Init.OutputDataInversionMode = CRC_OUTPUTDATA_INVERSION_DISABLE;
  hcrc.InputDataFormat = CRC_INPUTDATA_FORMAT_BYTES;
  if (HAL_CRC_Init(&hcrc) != HAL_OK)
  {
    Error_Handler();
  }

}

static void MX_SPI1_Init(void)
{

  /* SPI1 parameter configuration*/
  hspi1.Instance = SPI1;
  hspi1.Init.Mode = SPI_MODE_MASTER;
  hspi1.Init.Direction = SPI_DIRECTION_2LINES;
  hspi1.Init.DataSize = SPI_DATASIZE_8BIT;
  hspi1.Init.CLKPolarity = SPI_POLARITY_LOW;
  hspi1.Init.CLKPhase = SPI_PHASE_1EDGE;
  hspi1.Init.NSS = SPI_NSS_SOFT;
  hspi1.Init.BaudRatePrescaler = SPI_BAUDRATEPRESCALER_8;
  hspi1.Init.FirstBit = SPI_FIRSTBIT_MSB;
  hspi1.Init.TIMode = SPI_TIMODE_DISABLE;
  hspi1.Init.CRCCalculation = SPI_CRCCALCULATION_DISABLE;
  hspi1.Init.CRCPolynomial = 7;
  hspi1.Init.CRCLength = SPI_CRC_LENGTH_DATASIZE;
  hspi1.Init.NSSPMode = SPI_NSS_PULSE_ENABLE;
  if (HAL_SPI_Init(&hspi1) != HAL_OK)
  {
    Error_Handler();
  }

}

static void MX_SPI2_Init(void)
{

  /* SPI2 parameter configuration*/
  hspi2.Instance = SPI2;
  hspi2.Init.Mode = SPI_MODE_MASTER;
  hspi2.Init.Direction = SPI_DIRECTION_2LINES;
  hspi2.Init.DataSize = SPI_DATASIZE_8BIT;
  hspi2.Init.CLKPolarity = SPI_POLARITY_LOW;
  hspi2.Init.CLKPhase = SPI_PHASE_1EDGE;
  hspi2.Init.NSS = SPI_NSS_SOFT;
  hspi2.Init.BaudRatePrescaler = SPI_BAUDRATEPRESCALER_8;
  hspi2.Init.FirstBit = SPI_FIRSTBIT_MSB;
  hspi2.Init.TIMode = SPI_TIMODE_DISABLE;
  hspi2.Init.CRCCalculation = SPI_CRCCALCULATION_DISABLE;
  hspi2.Init.CRCPolynomial = 7;
  hspi2.Init.CRCLength = SPI_CRC_LENGTH_DATASIZE;
  hspi2.Init.NSSPMode = SPI_NSS_PULSE_DISABLE;
  if (HAL_SPI_Init(&hspi2) != HAL_OK)
  {
    Error_Handler();
  }

}

static void MX_USART2_UART_Init(void)
{

  huart2.Instance = USART2;
  huart2.Init.BaudRate = 115200;
  huart2.Init.WordLength = UART_WORDLENGTH_8B;
  huart2.Init.StopBits = UART_STOPBITS_1;
  huart2.Init.Parity = UART_PARITY_NONE;
  huart2.Init.Mode = UART_MODE_TX_RX;
  huart2.Init.HwFlowCtl = UART_HWCONTROL_NONE;
  huart2.Init.OverSampling = UART_OVERSAMPLING_16;
  huart2.Init.OneBitSampling = UART_ONE_BIT_SAMPLE_DISABLE;
  huart2.AdvancedInit.AdvFeatureInit = UART_ADVFEATURE_NO_INIT;
  if (HAL_UART_Init(&huart2) != HAL_OK)
  {
    Error_Handler();
  }

}

static void MX_GPIO_Init(void)
{
  GPIO_InitTypeDef GPIO_InitStruct = {0};

  /* GPIO Ports Clock Enable */
  __HAL_RCC_GPIOA_CLK_ENABLE();
  __HAL_RCC_GPIOB_CLK_ENABLE();

  /*Configure GPIO pin Output Level */
  HAL_GPIO_WritePin(GPIOA, FRAM_HOLD_Pin|FRAM_CS_Pin|SD_EN_Pin, GPIO_PIN_SET);

  /*Configure GPIO pin Output Level */
  HAL_GPIO_WritePin(SD_CS_GPIO_Port, SD_CS_Pin, GPIO_PIN_SET);

  /*Configure GPIO pin Output Level */
  HAL_GPIO_WritePin(LED_GPIO_Port, LED_Pin, GPIO_PIN_RESET);

  /*Configure GPIO pins : FRAM_HOLD_Pin SD_EN_Pin LED_Pin */
  GPIO_InitStruct.Pin = FRAM_HOLD_Pin|SD_EN_Pin|LED_Pin;
  GPIO_InitStruct.Mode = GPIO_MODE_OUTPUT_PP;
  GPIO_InitStruct.Pull = GPIO_NOPULL;
  GPIO_InitStruct.Speed = GPIO_SPEED_FREQ_LOW;
  HAL_GPIO_Init(GPIOA, &GPIO_InitStruct);

  /*Configure GPIO pin : FRAM_CS_Pin */
  GPIO_InitStruct.Pin = FRAM_CS_Pin;
  GPIO_InitStruct.Mode = GPIO_MODE_OUTPUT_PP;
  GPIO_InitStruct.Pull = GPIO_NOPULL;
  GPIO_InitStruct.Speed = GPIO_SPEED_FREQ_HIGH;
  HAL_GPIO_Init(FRAM_CS_GPIO_Port, &GPIO_InitStruct);

  /*Configure GPIO pin : SD_CS_Pin */
  GPIO_InitStruct.Pin = SD_CS_Pin;
  GPIO_InitStruct.Mode = GPIO_MODE_OUTPUT_PP;
  GPIO_InitStruct.Pull = GPIO_NOPULL;
  GPIO_InitStruct.Speed = GPIO_SPEED_FREQ_HIGH;
  HAL_GPIO_Init(SD_CS_GPIO_Port, &GPIO_InitStruct);

  /*Configure GPIO pin : Vbus_Sense_Pin */
  GPIO_InitStruct.Pin = Vbus_Sense_Pin;
  GPIO_InitStruct.Mode = GPIO_MODE_INPUT;
  GPIO_InitStruct.Pull = GPIO_NOPULL;
  HAL_GPIO_Init(Vbus_Sense_GPIO_Port, &GPIO_InitStruct);

}

void Error_Handler(void)
{
  __disable_irq();
  while (1)
  {
  }
}
